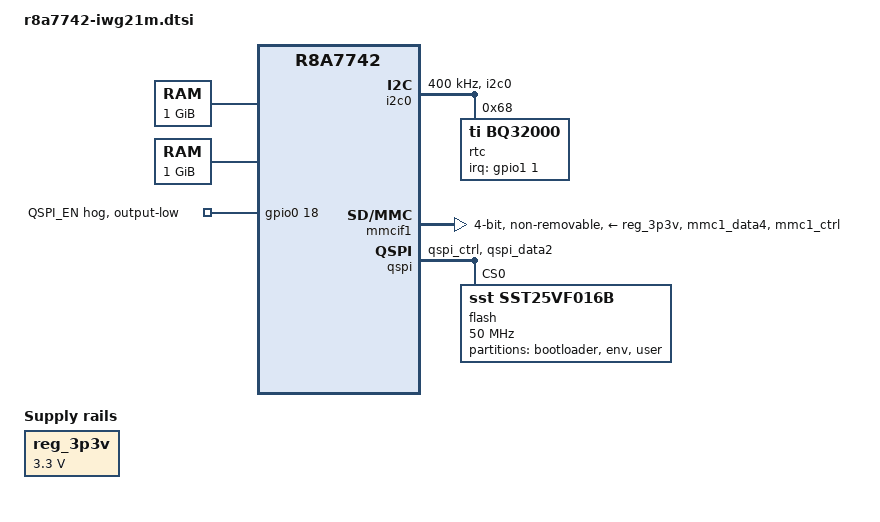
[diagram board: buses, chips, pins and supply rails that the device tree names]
// SPDX-License-Identifier: GPL-2.0
/*
 * Device Tree Source for the iWave RZ/G1H Qseven SOM
 *
 * Copyright (C) 2020 Renesas Electronics Corp.
 */

#include "r8a7742.dtsi"
#include <dt-bindings/gpio/gpio.h>

/ {
	compatible = "iwave,g21m", "renesas,r8a7742";

	memory@40000000 {
		device_type = "memory";
		reg = <0 0x40000000 0 0x40000000>;
	};

	memory@200000000 {
		device_type = "memory";
		reg = <2 0x00000000 0 0x40000000>;
	};

	reg_3p3v: 3p3v {
		compatible = "regulator-fixed";
		regulator-name = "3P3V";
		regulator-min-microvolt = <3300000>;
		regulator-max-microvolt = <3300000>;
		regulator-always-on;
		regulator-boot-on;
	};
};

&extal_clk {
	clock-frequency = <20000000>;
};

&gpio0 {
	/* GP0_18 set low to select QSPI. Doing so will disable VIN2 */
	qspi-en-hog {
		gpio-hog;
		gpios = <18 GPIO_ACTIVE_HIGH>;
		output-low;
		line-name = "QSPI_EN";
	};
};

&i2c0 {
	pinctrl-0 = <&i2c0_pins>;
	pinctrl-names = "default";

	status = "okay";
	clock-frequency = <400000>;

	rtc@68 {
		compatible = "ti,bq32000";
		reg = <0x68>;
		interrupts-extended = <&gpio1 1 IRQ_TYPE_EDGE_FALLING>;
	};
};

&mmcif1 {
	pinctrl-0 = <&mmc1_pins>;
	pinctrl-names = "default";

	vmmc-supply = <&reg_3p3v>;
	bus-width = <4>;
	non-removable;
	status = "okay";
};

&pfc {
	i2c0_pins: i2c0 {
		groups = "i2c0";
		function = "i2c0";
	};

	mmc1_pins: mmc1 {
		groups = "mmc1_data4", "mmc1_ctrl";
		function = "mmc1";
	};

	qspi_pins: qspi {
		groups = "qspi_ctrl", "qspi_data2";
		function = "qspi";
	};
};

&qspi {
	pinctrl-0 = <&qspi_pins>;
	pinctrl-names = "default";

	status = "okay";

	flash: flash@0 {
		compatible = "sst,sst25vf016b", "jedec,spi-nor";
		reg = <0>;
		spi-max-frequency = <50000000>;
		m25p,fast-read;
		spi-cpol;
		spi-cpha;

		partitions {
			compatible = "fixed-partitions";
			#address-cells = <1>;
			#size-cells = <1>;

			partition@0 {
				label = "bootloader";
				reg = <0x00000000 0x000c0000>;
				read-only;
			};
			partition@c0000 {
				label = "env";
				reg = <0x000c0000 0x00002000>;
			};
			partition@c2000 {
				label = "user";
				reg = <0x000c2000 0x0013e000>;
			};
		};
	};
};
